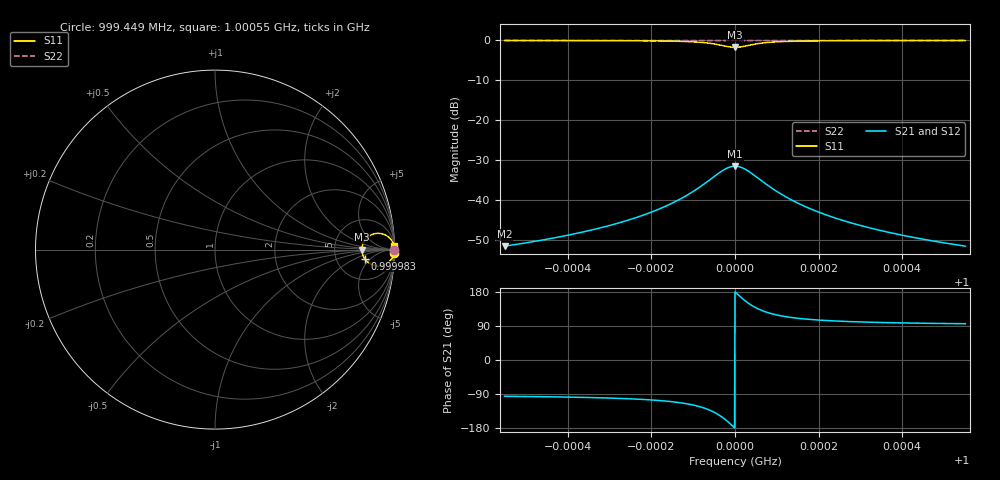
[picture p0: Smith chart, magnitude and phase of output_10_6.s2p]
! File generated for n1 = 10, n2 = 6
! b1 = 0.100000
! b2 = 0.002154
! Q0 = 10000.000000
! f0 = 1000000000.000000
! n = 1001
! rel_span = 10.000000
# Hz S RI R 50
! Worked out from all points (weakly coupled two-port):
!   1001 points, 999.449 MHz to 1.00055 GHz, reference 50 ohm
!   highest |S21| = -31.49 dB at 1 GHz (marker M1); lowest = -51.5 dB at 999.449 MHz (marker M2)
!   lowest |S11| = -1.7 dB at 1 GHz (marker M3), VSWR 10.02, Z = 501 + j0 ohm
!   |S11| at or under -10 dB: nowhere
!   |S22| runs from 0.0 to 0.0 dB; largest |S21 - S12| = 0
!   S11 on the Smith chart (normalised r, x): 999.449 MHz: open; 999.983 MHz: 10, -3; 1.00055 GHz: open
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9.994489e8  0.9982 -0.018  -0.000264 -0.00264  -0.000264 -0.00264  1 -0.000387
9.995437e8  0.9974 -0.0216  -0.000383 -0.00317  -0.000383 -0.00317  0.9999 -0.000465
9.99633e8  0.996 -0.0266  -0.000587 -0.00391  -0.000587 -0.00391  0.9999 -0.000574
9.997344e8  0.9925 -0.0361  -0.0011 -0.0053  -0.0011 -0.0053  0.9998 -0.000778
9.99817e8  0.9849 -0.0501  -0.00222 -0.00735  -0.00222 -0.00735  0.9997 -0.00108
9.998699e8  0.9724 -0.0652  -0.00405 -0.00957  -0.00405 -0.00957  0.9994 -0.0014
9.999162e8  0.9452 -0.0833  -0.00805 -0.0122  -0.00805 -0.0122  0.9988 -0.0018
9.99957e8  0.8872 -0.088  -0.0166 -0.0129  -0.0166 -0.0129  0.9976 -0.0019
9.999702e8  0.8595 -0.0759  -0.0206 -0.0111  -0.0206 -0.0111  0.997 -0.00163
9.999835e8  0.8335 -0.0499  -0.0244 -0.00733  -0.0244 -0.00733  0.9964 -0.00108
1e9  0.8185 0  -0.0266 0  -0.0266 0  0.9961 0
1.00001e9  0.8242 0.0316  -0.0258 0.00464  -0.0258 0.00464  0.9962 0.000682
1.000021e9  0.8414 0.0603  -0.0233 0.00884  -0.0233 0.00884  0.9966 0.0013
1.000048e9  0.8977 0.09  -0.015 0.0132  -0.015 0.0132  0.9978 0.00194
1.000078e9  0.9398 0.0854  -0.00883 0.0125  -0.00883 0.0125  0.9987 0.00184
1.000115e9  0.9659 0.0709  -0.005 0.0104  -0.005 0.0104  0.9993 0.00153
1.000148e9  0.9778 0.0594  -0.00326 0.00872  -0.00326 0.00872  0.9995 0.00128
1.000184e9  0.9851 0.0499  -0.00219 0.00732  -0.00219 0.00732  0.9997 0.00107
1.000267e9  0.9926 0.036  -0.00109 0.00528  -0.00109 0.00528  0.9998 0.000775
1.000368e9  0.996 0.0266  -0.000584 0.0039  -0.000584 0.0039  0.9999 0.000573
1.000457e9  0.9974 0.0216  -0.000381 0.00316  -0.000381 0.00316  0.9999 0.000464
1.000551e9  0.9982 0.018  -0.000264 0.00264  -0.000264 0.00264  1 0.000387
